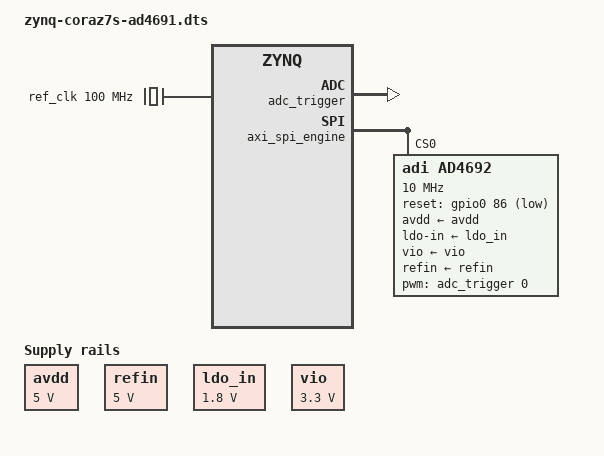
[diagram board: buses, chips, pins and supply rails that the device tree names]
// SPDX-License-Identifier: GPL-2.0
/*
 * Analog Devices AD4691 family - Non-manual offload modes (CNV_CLOCK_MODE,
 * CNV_BURST_MODE, AUTONOMOUS_MODE, SPI_BURST_MODE) with SPI Engine Offload.
 * https://www.analog.com/en/products/ad4691.html
 *
 * hdl_project: <ad469x_evb/coraz7s>
 * Link: https://github.com/analogdevicesinc/hdl/tree/main/projects/ad469x_evb
 *
 * AD4692_ARDZ Eval Board Pinout on Cora Z7S Arduino Headers:
 *   CK_IO13: SPI SCLK
 *   CK_IO12: SPI SDO (MISO)
 *   CK_IO11: SPI SDI (MOSI)
 *   CK_IO10: SPI CS
 *   CK_IO09: GP0 (BUSY/DATA_READY) -> SPI Engine trigger input
 *   CK_IO06: CNV (PWM trigger output, CNV_CLOCK_MODE and CNV_BURST_MODE only)
 *   CK_IO04: RESETn
 *
 * Copyright (C) 2025 Analog Devices Inc.
 */
/dts-v1/;

#include <dt-bindings/interrupt-controller/irq.h>
#include <dt-bindings/gpio/gpio.h>

#include "zynq-coraz7s.dtsi"

/ {
	avdd: regulator-avdd {
		compatible = "regulator-fixed";
		regulator-name = "AD4692 AVDD";
		regulator-min-microvolt = <5000000>;
		regulator-max-microvolt = <5000000>;
		regulator-always-on;
	};

	refin: regulator-refin {
		compatible = "regulator-fixed";
		regulator-name = "AD4692 REFIN";
		regulator-min-microvolt = <5000000>;
		regulator-max-microvolt = <5000000>;
		regulator-always-on;
	};

	ldo_in: regulator-ldo_in {
		compatible = "regulator-fixed";
		regulator-name = "AD4692 LDO-IN";
		regulator-min-microvolt = <1800000>;
		regulator-max-microvolt = <1800000>;
		regulator-always-on;
	};

	vio: regulator-vio {
		compatible = "regulator-fixed";
		regulator-name = "AD4692 VIO";
		regulator-min-microvolt = <3300000>;
		regulator-max-microvolt = <3300000>;
		regulator-always-on;
	};

	ref_clk: ref-clk {
		compatible = "fixed-clock";
		#clock-cells = <0>;
		clock-frequency = <100000000>;
		clock-output-names = "ref_clk";
	};
};

&fpga_axi {
	rx_dma: dma-controller@44a30000 {
		compatible = "adi,axi-dmac-1.00.a";
		reg = <0x44a30000 0x1000>;
		#dma-cells = <1>;
		interrupt-parent = <&intc>;
		interrupts = <0 57 IRQ_TYPE_LEVEL_HIGH>;
		clocks = <&clkc 15>;
	};

	adc_trigger: pwm@44b00000 {
		compatible = "adi,axi-pwmgen-2.00.a";
		reg = <0x44b00000 0x1000>;
		#pwm-cells = <3>;
		clocks = <&clkc 15>, <&spi_clk>;
		clock-names = "axi", "ext";
	};

	spi_clk: clock-controller@44a70000 {
		compatible = "adi,axi-clkgen-2.00.a";
		reg = <0x44a70000 0x10000>;
		#clock-cells = <0>;
		clocks = <&clkc 15>, <&clkc 15>;
		clock-names = "clkin1", "s_axi_aclk";
		clock-output-names = "spi_clk";
	};

	axi_spi_engine: spi@44a00000 {
		compatible = "adi,axi-spi-engine-1.00.a";
		reg = <0x44a00000 0x1000>;
		interrupt-parent = <&intc>;
		interrupts = <0 56 IRQ_TYPE_LEVEL_HIGH>;
		clocks = <&clkc 15>, <&spi_clk>;
		clock-names = "s_axi_aclk", "spi_clk";

		dmas = <&rx_dma 0>;
		dma-names = "offload0-rx";
		trigger-sources = <&ad4692 0>;

		#address-cells = <1>;
		#size-cells = <0>;

		ad4692: adc@0 {
			compatible = "adi,ad4692";
			reg = <0>;

			spi-cpol;
			spi-cpha;
			spi-max-frequency = <10000000>;

			avdd-supply = <&avdd>;
			ldo-in-supply = <&ldo_in>;
			vio-supply = <&vio>;
			refin-supply = <&refin>;

			reset-gpios = <&gpio0 86 GPIO_ACTIVE_LOW>;

			clocks = <&ref_clk>;
			clock-names = "ref_clk";

			/*
			 * SPI_BURST_MODE: internal oscillator drives conversions,
			 * DATA_READY on GP0 signals completion. No CNV PWM needed.
			 *
			 * To switch to CNV_CLOCK_MODE or CNV_BURST_MODE, add:
			 *   pwms = <&adc_trigger 0 10000 0>;
			 *   pwm-names = "cnv";
			 * and change adi,spi-mode to 0 or 1 respectively.
			 */
			pwms = <&adc_trigger 0 10000 0>;
			pwm-names = "cnv";

			#trigger-source-cells = <1>;
		};
	};
};
